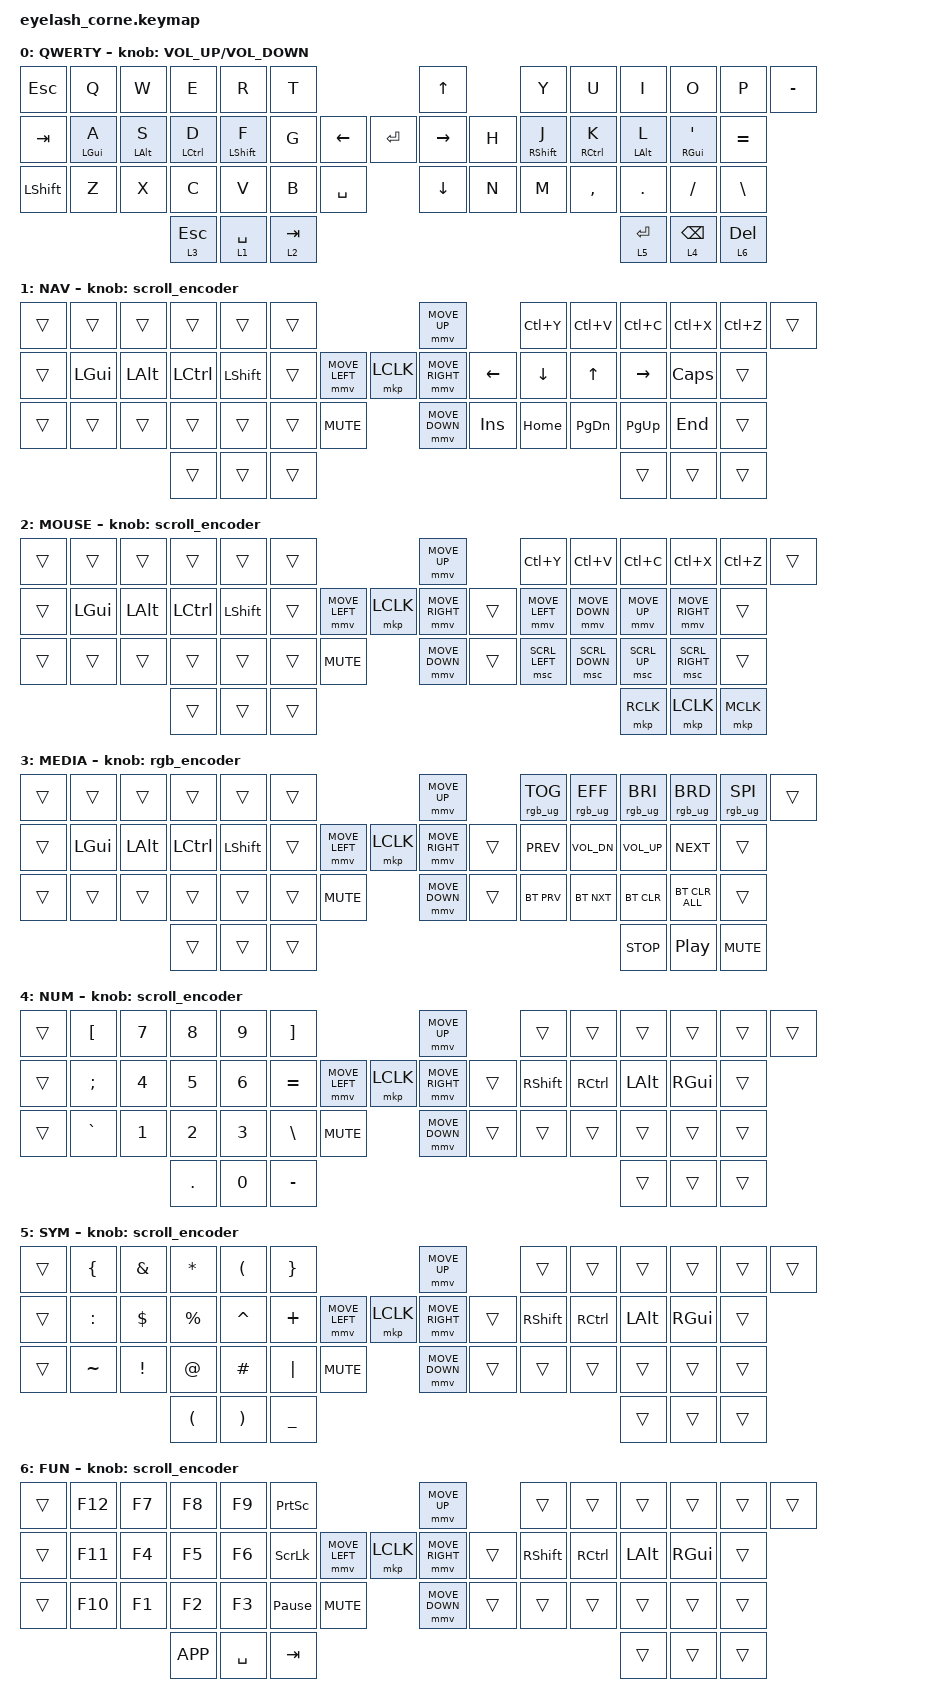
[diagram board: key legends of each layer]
#define ZMK_POINTING_DEFAULT_MOVE_VAL 1200  // 600
#define ZMK_POINTING_DEFAULT_SCRL_VAL 25    // 10

#include <input/processors.dtsi>
#include <zephyr/dt-bindings/input/input-event-codes.h>
#include <behaviors.dtsi>
#include <dt-bindings/zmk/bt.h>
#include <dt-bindings/zmk/keys.h>
#include <dt-bindings/zmk/outputs.h>
#include <dt-bindings/zmk/pointing.h>
#include <dt-bindings/zmk/rgb.h>

&mmv_input_listener { input-processors = <&zip_xy_scaler 2 1>; };

&msc_input_listener { input-processors = <&zip_scroll_scaler 2 1>; };

&msc {
    acceleration-exponent = <1>;      // 0
    time-to-max-speed-ms = <100>;       // 300
    delay-ms = <0>;                   // 0
};

&mmv {
    time-to-max-speed-ms = <500>;
    acceleration-exponent = <1>;
    trigger-period-ms = <16>;
};

&soft_off { hold-time-ms = <2000>; };

/ {
    behaviors {
        td0: td0 {
            compatible = "zmk,behavior-tap-dance";
            display-name = "Shift/Caps Lock Tap Dance";
            #binding-cells = <0>;
            bindings = <&kp LEFT_SHIFT>, <&kp CAPS>;
        };

        hml: homerow_mods_left {
            compatible = "zmk,behavior-hold-tap";
            display-name = "Homerow Mods Left";
            bindings = <&kp>, <&kp>;
            #binding-cells = <2>;
            tapping-term-ms = <280>;
            quick-tap-ms = <175>;
            require-prior-idle-ms = <150>;
            flavor = "balanced";
            hold-trigger-on-release;
            hold-trigger-key-positions = <6 7 8 9 10 11 12 19 20 21 22 23 24 25 26 27 34 35 36 37 38 39 40 41 42 43 44 45 46 47>;
        };

        hmr: homerow_mods_right {
            compatible = "zmk,behavior-hold-tap";
            display-name = "Homerow Mods Right";
            bindings = <&kp>, <&kp>;
            #binding-cells = <2>;
            tapping-term-ms = <280>;
            quick-tap-ms = <175>;
            require-prior-idle-ms = <150>;
            flavor = "balanced";
            hold-trigger-on-release;
            hold-trigger-key-positions = <0 1 2 3 4 5 6 13 14 15 16 17 18 19 20 21 28 29 30 31 32 33 34 35 42 43 44 45 46 47>;
        };
    };

    rgb_encoder: rgb_encoder {
        compatible = "zmk,behavior-sensor-rotate";
        #sensor-binding-cells = <0>;
        bindings = <&rgb_ug RGB_BRI>, <&rgb_ug RGB_BRD>;
    };

    scroll_encoder: scroll_encoder {
        compatible = "zmk,behavior-sensor-rotate";
        #sensor-binding-cells = <0>;
        bindings = <&msc SCRL_DOWN>, <&msc SCRL_UP>;
        tap-ms = <100>;
    };

    combos {
        compatible = "zmk,combos";
        require-prior-idle-ms = <75>;
        softoff {
            bindings = <&soft_off>;
            key-positions = <1 15 29>;
        };
    };

    keymap {
        compatible = "zmk,keymap";

        default_layer {
            display-name = "QWERTY";
            bindings = <
&kp ESC   &kp Q       &kp W       &kp E        &kp R        &kp T                                      &kp UP               &kp Y &kp U        &kp I        &kp O       &kp P          &kp MINUS
&kp TAB   &hml LGUI A &hml LALT S &hml LCTRL D &hml LSHFT F &kp G                       &kp LEFT &kp ENTER &kp RIGHT    &kp H &hmr RSHFT J &hmr RCTRL K &hmr LALT L &hmr RGUI SQT  &kp EQUAL
&kp LSHFT &kp Z       &kp X       &kp C        &kp V        &kp B        &kp SPACE                &kp DOWN              &kp N &kp M        &kp COMMA    &kp DOT     &kp FSLH       &kp BSLH
                                  &lt 3 ESC    &lt 1 SPACE  &lt 2 TAB                                                                              &lt 5 RET    &lt 4 BSPC  &lt 6 DEL
            >;
            sensor-bindings = <&inc_dec_kp C_VOLUME_UP C_VOLUME_DOWN>;
        };

        nav_layer {
            display-name = "NAV";
            bindings = <
&trans &trans   &trans   &trans    &trans    &trans                                     &mmv MOVE_UP                   &kp LC(Y) &kp LC(V) &kp LC(C) &kp LC(X) &kp LC(Z) &trans
&trans &kp LGUI &kp LALT &kp LCTRL &kp LSHFT &trans              &mmv MOVE_LEFT &mkp LCLK  &mmv MOVE_RIGHT     &kp LEFT   &kp DOWN    &kp UP   &kp RIGHT    &kp CAPS  &trans
&trans &trans   &trans   &trans    &trans    &trans   &kp C_MUTE                &mmv MOVE_DOWN                 &kp INS    &kp HOME    &kp PG_DN  &kp PG_UP &kp END    &trans
                                   &trans    &trans   &trans                                                                          &trans      &trans     &trans
            >;
            sensor-bindings = <&scroll_encoder>;
        };

        mouse_layer {
            display-name = "MOUSE";
            bindings = <
&trans &trans   &trans   &trans    &trans    &trans                                     &mmv MOVE_UP                   &kp LC(Y) &kp LC(V)    &kp LC(C)     &kp LC(X)    &kp LC(Z)      &trans
&trans &kp LGUI &kp LALT &kp LCTRL &kp LSHFT &trans              &mmv MOVE_LEFT &mkp LCLK  &mmv MOVE_RIGHT     &trans     &mmv MOVE_LEFT &mmv MOVE_DOWN &mmv MOVE_UP &mmv MOVE_RIGHT &trans
&trans &trans   &trans   &trans    &trans    &trans   &kp C_MUTE                &mmv MOVE_DOWN                 &trans     &msc SCRL_LEFT &msc SCRL_DOWN &msc SCRL_UP &msc SCRL_RIGHT &trans
                                   &trans    &trans   &trans                                                                          &mkp RCLK      &mkp LCLK      &mkp MCLK
            >;
            sensor-bindings = <&scroll_encoder>;
        };

        media_layer {
            display-name = "MEDIA";
            bindings = <
&trans &trans   &trans   &trans    &trans    &trans                                     &mmv MOVE_UP                   &rgb_ug RGB_TOG &rgb_ug RGB_EFF  &rgb_ug RGB_BRI &rgb_ug RGB_BRD &rgb_ug RGB_SPI &trans
&trans &kp LGUI &kp LALT &kp LCTRL &kp LSHFT &trans              &mmv MOVE_LEFT &mkp LCLK  &mmv MOVE_RIGHT     &trans          &kp C_PREV       &kp C_VOL_DN    &kp C_VOL_UP    &kp C_NEXT      &trans
&trans &trans   &trans   &trans    &trans    &trans   &kp C_MUTE                &mmv MOVE_DOWN                 &trans          &bt BT_PRV       &bt BT_NXT      &bt BT_CLR      &bt BT_CLR_ALL  &trans
                                   &trans    &trans   &trans                                                                          &kp C_STOP       &kp C_PLAY_PAUSE &kp C_MUTE
            >;
            sensor-bindings = <&rgb_encoder>;
        };

        num_layer {
            display-name = "NUM";
            bindings = <
&trans &kp LBKT  &kp N7 &kp N8 &kp N9 &kp RBKT                                     &mmv MOVE_UP                   &trans &trans    &trans    &trans   &trans   &trans
&trans &kp SEMI  &kp N4 &kp N5 &kp N6 &kp EQUAL             &mmv MOVE_LEFT &mkp LCLK  &mmv MOVE_RIGHT     &trans &kp RSHFT &kp RCTRL &kp LALT &kp RGUI &trans
&trans &kp GRAVE &kp N1 &kp N2 &kp N3 &kp BSLH  &kp C_MUTE                &mmv MOVE_DOWN                 &trans &trans    &trans    &trans   &trans   &trans
                               &kp DOT &kp N0 &kp MINUS                                                                        &trans    &trans    &trans
            >;
            sensor-bindings = <&scroll_encoder>;
        };

        sym_layer {
            display-name = "SYM";
            bindings = <
&trans &kp LBRC  &kp AMPS &kp ASTRK &kp LPAR  &kp RBRC                                     &mmv MOVE_UP                   &trans &trans    &trans    &trans   &trans   &trans
&trans &kp COLON &kp DLLR &kp PRCNT &kp CARET &kp PLUS             &mmv MOVE_LEFT &mkp LCLK  &mmv MOVE_RIGHT     &trans &kp RSHFT &kp RCTRL &kp LALT &kp RGUI &trans
&trans &kp TILDE &kp EXCL &kp AT    &kp HASH  &kp PIPE  &kp C_MUTE                &mmv MOVE_DOWN                 &trans &trans    &trans    &trans   &trans   &trans
                                    &kp LPAR  &kp RPAR  &kp UNDER                                                                        &trans    &trans    &trans
            >;
            sensor-bindings = <&scroll_encoder>;
        };

        fun_layer {
            display-name = "FUN";
            bindings = <
&trans &kp F12 &kp F7 &kp F8 &kp F9 &kp PSCRN                                    &mmv MOVE_UP                   &trans &trans    &trans    &trans   &trans   &trans
&trans &kp F11 &kp F4 &kp F5 &kp F6 &kp SLCK             &mmv MOVE_LEFT &mkp LCLK  &mmv MOVE_RIGHT     &trans &kp RSHFT &kp RCTRL &kp LALT &kp RGUI &trans
&trans &kp F10 &kp F1 &kp F2 &kp F3 &kp PAUSE_BREAK &kp C_MUTE          &mmv MOVE_DOWN                 &trans &trans    &trans    &trans   &trans   &trans
                             &kp K_APP &kp SPACE &kp TAB                                                                           &trans    &trans    &trans
            >;
            sensor-bindings = <&scroll_encoder>;
        };
    };
};
